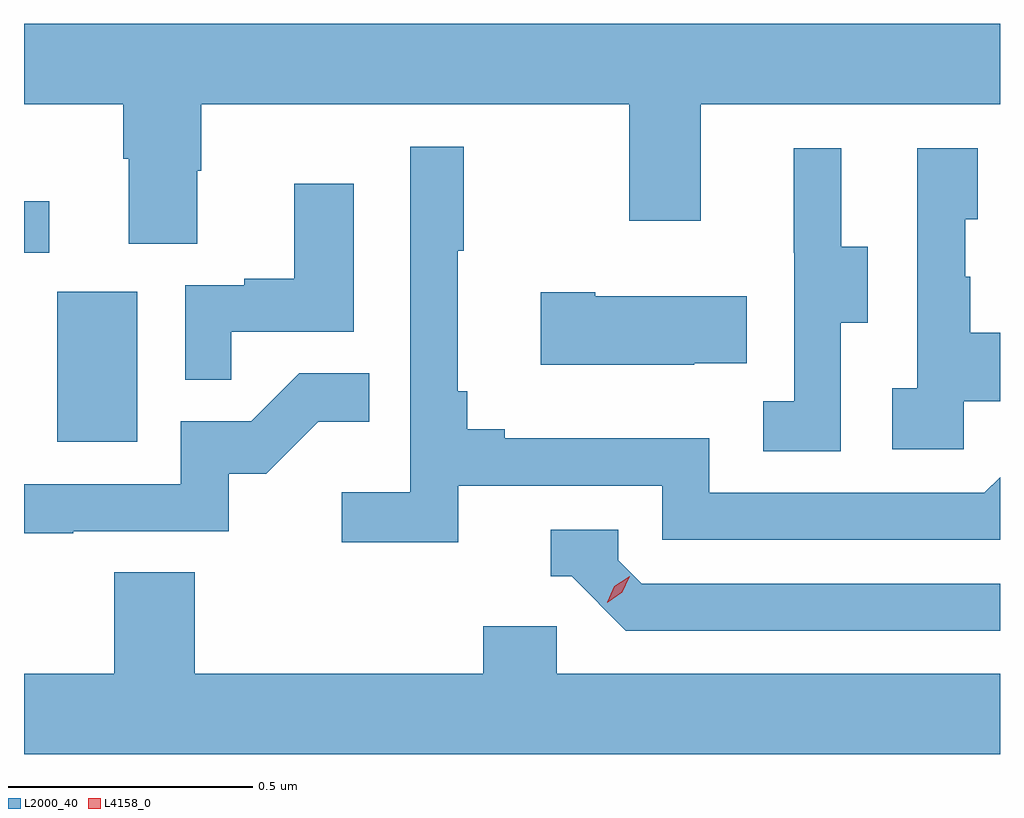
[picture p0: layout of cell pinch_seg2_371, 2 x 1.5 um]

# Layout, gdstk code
import gdstk
lib = gdstk.Library(unit=1e-6, precision=1e-09)
def R(c, l, rs):  # rectangles x0, y0, x1, y1
    for r in rs: c.add(gdstk.rectangle(r[:2], r[2:], *l))
def P(c, l, *ps):  # polygons
    for p in ps: c.add(gdstk.Polygon(p, *l))
L2000_40 = (2000, 40)
L4158_0 = (4158, 0)

pinch_seg2_371 = lib.new_cell('pinch_seg2_371')
R(pinch_seg2_371, L2000_40, [(983.834,645.612,983.998,645.919), (983.766,645.999,983.818,646.105)])
P(pinch_seg2_371, L2000_40, [(984.121,646.167),(984.129,646.167),(984.129,646.304),(985.006,646.304),(985.006,646.065),(985.153,646.065),(985.153,646.304),(985.766,646.304),(985.766,646.468),(983.766,646.468),(983.766,646.304),(983.969,646.304),(983.969,646.192),(983.981,646.192),(983.981,646.018),(984.121,646.018)],
  [(984.656,645.522),(985.074,645.522),(985.074,645.411),(985.766,645.411),(985.766,645.539),(985.734,645.507),(985.17,645.507),(985.17,645.619),(984.751,645.619),(984.751,645.638),(984.674,645.638),(984.674,645.715),(984.655,645.715),(984.655,646.003),(984.667,646.003),(984.667,646.216),(984.558,646.216),(984.558,645.508),(984.417,645.508),(984.417,645.406),(984.656,645.406)],
  [(985.692,645.695),(985.766,645.695),(985.766,645.835),(985.705,645.835),(985.705,645.95),(985.695,645.95),(985.695,646.068),(985.72,646.068),(985.72,646.213),(985.596,646.213),(985.596,645.722),(985.545,645.722),(985.545,645.597),(985.692,645.597)],
  [(985.44,645.856),(985.495,645.856),(985.495,646.011),(985.441,646.011),(985.441,646.213),(985.343,646.213),(985.343,645.999),(985.344,645.999),(985.344,645.695),(985.281,645.695),(985.281,645.592),(985.44,645.592)],
  [(984.191,645.837),(984.442,645.837),(984.442,646.141),(984.32,646.141),(984.32,645.946),(984.217,645.946),(984.217,645.933),(984.096,645.933),(984.096,645.739),(984.191,645.739)],
  [(985.139,645.773),(985.247,645.773),(985.247,645.91),(984.937,645.91),(984.937,645.918),(984.825,645.918),(984.825,645.77),(985.139,645.77)],
  [(983.867,645.429),(984.186,645.429),(984.186,645.546),(984.262,645.546),(984.369,645.653),(984.473,645.653),(984.473,645.752),(984.33,645.752),(984.232,645.654),(984.087,645.654),(984.087,645.525),(983.766,645.525),(983.766,645.424),(983.867,645.424)],
  [(985.766,645.321),(985.032,645.321),(984.984,645.369),(984.984,645.432),(984.845,645.432),(984.845,645.336),(984.888,645.336),(984.999,645.225),(985.766,645.225)],
  [(985.766,645.136),(984.858,645.136),(984.858,645.234),(984.707,645.234),(984.707,645.136),(984.116,645.136),(984.116,645.344),(983.951,645.344),(983.951,645.136),(983.766,645.136),(983.766,644.972),(985.766,644.972)])
P(pinch_seg2_371, L4158_0, [(984.961,645.282),(984.961,645.283),(984.976,645.316),(985.007,645.336),(985.007,645.336),(985.007,645.336),(984.992,645.303),(984.961,645.282)])

lib.write_gds('pinch_seg2_371.gds')
